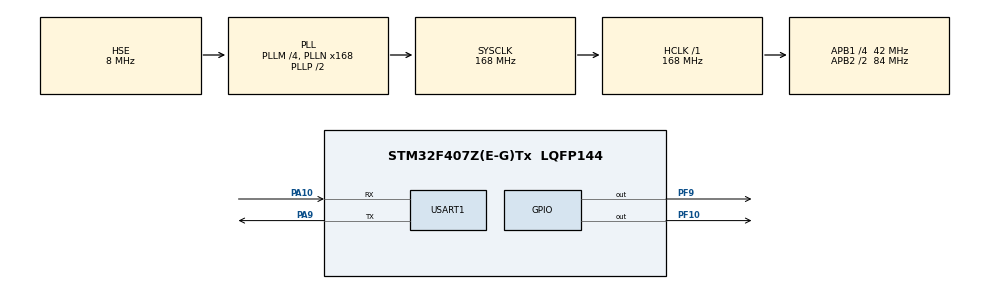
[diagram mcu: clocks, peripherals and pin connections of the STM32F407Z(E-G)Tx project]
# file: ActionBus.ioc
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Mcu.Family=STM32F4
Mcu.Name=STM32F407Z(E-G)Tx
Mcu.Package=LQFP144
NVIC.PriorityGroup=NVIC_PRIORITYGROUP_4
NVIC.USART1_IRQn=true\:0\:0\:false\:false\:true\:true\:true\:true
PA10.Mode=Asynchronous
PA10.Signal=USART1_RX
PA13.Mode=Serial_Wire
PA13.Signal=SYS_JTMS-SWDIO
PA14.Mode=Serial_Wire
PA14.Signal=SYS_JTCK-SWCLK
PA9.Mode=Asynchronous
PA9.Signal=USART1_TX
PC14-OSC32_IN.Mode=LSE-External-Oscillator
PC14-OSC32_IN.Signal=RCC_OSC32_IN
PC15-OSC32_OUT.Mode=LSE-External-Oscillator
PC15-OSC32_OUT.Signal=RCC_OSC32_OUT
PF10.Signal=GPIO_Output
PF9.Signal=GPIO_Output
PH0-OSC_IN.Mode=HSE-External-Oscillator
PH0-OSC_IN.Signal=RCC_OSC_IN
PH1-OSC_OUT.Mode=HSE-External-Oscillator
PH1-OSC_OUT.Signal=RCC_OSC_OUT
ProjectManager.HeapSize=0x200
ProjectManager.StackSize=0x400
ProjectManager.TargetToolchain=Makefile
RCC.48MHZClocksFreq_Value=84000000
RCC.AHBFreq_Value=168000000
RCC.APB1CLKDivider=RCC_HCLK_DIV4
RCC.APB1Freq_Value=42000000
RCC.APB1TimFreq_Value=84000000
RCC.APB2CLKDivider=RCC_HCLK_DIV2
RCC.APB2Freq_Value=84000000
RCC.APB2TimFreq_Value=168000000
RCC.CortexFreq_Value=168000000
RCC.HCLKFreq_Value=168000000
RCC.HSE_VALUE=8000000
RCC.HSI_VALUE=16000000
RCC.PLLM=4
RCC.PLLN=168
RCC.PLLSourceVirtual=RCC_PLLSOURCE_HSE
RCC.SYSCLKFreq_VALUE=168000000
RCC.SYSCLKSource=RCC_SYSCLKSOURCE_PLLCLK
RCC.VCOOutputFreq_Value=336000000
USART1.VirtualMode=VM_ASYNC
board=custom

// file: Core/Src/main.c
/* USER CODE BEGIN Header */
/**
  ******************************************************************************
  * @file           : main.c
  * @brief          : ActionBus v3.1 测试固件入口
  ******************************************************************************
  */
/* USER CODE END Header */
#include "main.h"
#include "stm32f4xx_hal_conf.h"
#include "usart.h"
#include "gpio.h"

/* USER CODE BEGIN Includes */
#include "actionbus.h"
#include "test_tasks.h"
/* USER CODE END Includes */

/* USER CODE BEGIN PV */
static uint8_t g_rx_byte;
/* USER CODE END PV */

void SystemClock_Config(void);
/* USER CODE BEGIN PFP */
static void AB_SendBytes(const uint8_t *data, uint16_t len);
/* USER CODE END PFP */

int main(void)
{

  /* MCU Configuration--------------------------------------------------------*/

  /* Reset of all peripherals, Initializes the Flash interface and the Systick. */
  HAL_Init();

  /* Configure the system clock */
  SystemClock_Config();

  /* Initialize all configured peripherals */
  MX_GPIO_Init();
  MX_USART1_UART_Init();
  /* USER CODE BEGIN 2 */

  HAL_UART_Transmit(&huart1, (uint8_t *)"ActionBus v3.1\r\n", sizeof("ActionBus v3.1\r\n")-1, 1000);
  HAL_UART_Transmit(&huart1, (uint8_t *)"test message\r\n", sizeof("test message\r\n")-1, 1000);
  AB_SendBytes((uint8_t *)"test message\r\n", sizeof("test message\r\n"));
  /* --- ActionBus 初始化 --- */
  ActionBus_Init();
  ActionBus_SetSendCallback(AB_SendBytes);

  /* --- 注册全部测试任务 --- */
  TestTasks_Init();

  /* --- 启动 UART 中断接收（单字节模式） --- */
  HAL_UART_Receive_IT(&huart1, &g_rx_byte, 1);

  /* USER CODE END 2 */

  /* Infinite loop */
  while (1)
  {

    /* USER CODE BEGIN 3 */
    ActionBus_ProcessPending();
    TestTasks_Loop();
    /* USER CODE END 3 */
  }
}

void SystemClock_Config(void)
{
  RCC_OscInitTypeDef RCC_OscInitStruct = {0};
  RCC_ClkInitTypeDef RCC_ClkInitStruct = {0};

  /** Configure the main internal regulator output voltage
  */
  __HAL_RCC_PWR_CLK_ENABLE();
  __HAL_PWR_VOLTAGESCALING_CONFIG(PWR_REGULATOR_VOLTAGE_SCALE1);

  /** Initializes the RCC Oscillators according to the specified parameters
  * in the RCC_OscInitTypeDef structure.
  */
  RCC_OscInitStruct.OscillatorType = RCC_OSCILLATORTYPE_HSE;
  RCC_OscInitStruct.HSEState = RCC_HSE_ON;
  RCC_OscInitStruct.PLL.PLLState = RCC_PLL_ON;
  RCC_OscInitStruct.PLL.PLLSource = RCC_PLLSOURCE_HSE;
  RCC_OscInitStruct.PLL.PLLM = 4;
  RCC_OscInitStruct.PLL.PLLN = 168;
  RCC_OscInitStruct.PLL.PLLP = RCC_PLLP_DIV2;
  RCC_OscInitStruct.PLL.PLLQ = 4;
  if (HAL_RCC_OscConfig(&RCC_OscInitStruct) != HAL_OK)
  {
    Error_Handler();
  }

  /** Initializes the CPU, AHB and APB buses clocks
  */
  RCC_ClkInitStruct.ClockType = RCC_CLOCKTYPE_HCLK|RCC_CLOCKTYPE_SYSCLK
                              |RCC_CLOCKTYPE_PCLK1|RCC_CLOCKTYPE_PCLK2;
  RCC_ClkInitStruct.SYSCLKSource = RCC_SYSCLKSOURCE_PLLCLK;
  RCC_ClkInitStruct.AHBCLKDivider = RCC_SYSCLK_DIV1;
  RCC_ClkInitStruct.APB1CLKDivider = RCC_HCLK_DIV4;
  RCC_ClkInitStruct.APB2CLKDivider = RCC_HCLK_DIV2;

  if (HAL_RCC_ClockConfig(&RCC_ClkInitStruct, FLASH_LATENCY_5) != HAL_OK)
  {
    Error_Handler();
  }
}

/* USER CODE BEGIN 4 */

/* ActionBus 底层发送回调 */
static void AB_SendBytes(const uint8_t *data, uint16_t len)
{
    HAL_UART_Transmit(&huart1, (uint8_t *)data, len, 1000);
}

/* UART 接收完成回调：将字节喂入 ActionBus 解析器并重新挂起中断 */
void HAL_UART_RxCpltCallback(UART_HandleTypeDef *huart)
{
    if (huart->Instance == USART1) {
        ActionBus_RxHandler(g_rx_byte);
        HAL_UART_Receive_IT(&huart1, &g_rx_byte, 1);
    }
}

/* UART 错误回调：清除 ORE/FE/NE 等错误并重新挂起中断，防止 RX 永久停止 */
void HAL_UART_ErrorCallback(UART_HandleTypeDef *huart)
{
    if (huart->Instance == USART1) {
        HAL_UART_Receive_IT(&huart1, &g_rx_byte, 1);
    }
}

/* USER CODE END 4 */

void Error_Handler(void)
{
  __disable_irq();
  while (1)
  {
  }
}
